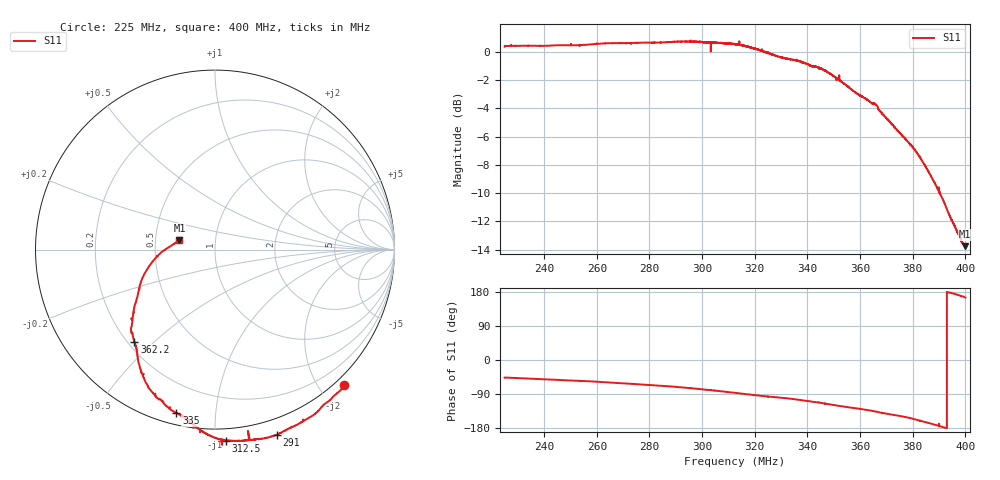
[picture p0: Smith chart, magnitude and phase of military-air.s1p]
! Calibrated averaged scanner-service zoom
# Hz S RI R 50
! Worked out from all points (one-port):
!   10001 points, 225 MHz to 400 MHz, reference 50 ohm
!   lowest |S11| = -13.8 dB at 399.9 MHz (marker M1), VSWR 1.52, Z = 33.3 + j3.73 ohm
!   |S11| at or under -10 dB: 390.3 MHz to end of sweep
!   S11 on the Smith chart (normalised r, x): 225 MHz: -0.13, -2.32; 291 MHz: -0.12, -1.38; 312.5 MHz: -0.07, -1.06; 335 MHz: 0.05, -0.79; 362.2 MHz: 0.23, -0.43; 400 MHz: 0.67, +0.08
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2.25e8  0.7165 -0.757
2.46875e8  0.634 -0.8436
2.597025e8  0.5777 -0.8957
2.6875e8  0.5188 -0.9394
2.84745e8  0.4016 -1.002
2.90625e8  0.3498 -1.028
2.9101e8  0.3449 -1.03
2.9906e8  0.2509 -1.057
3.020525e8  0.2086 -1.061
3.125e8  0.0609 -1.063
3.12535e8  0.0608 -1.065
3.16805e8  -0.00554 -1.046
3.2216e8  -0.0771 -1.008
3.34375e8  -0.2077 -0.9136
3.35005e8  -0.2156 -0.9107
3.43055e8  -0.321 -0.8273
3.449975e8  -0.3398 -0.8068
3.49635e8  -0.3922 -0.7248
3.5625e8  -0.4305 -0.6047
3.62165e8  -0.4496 -0.5133
3.662425e8  -0.4685 -0.4459
3.691825e8  -0.4575 -0.3771
3.78125e8  -0.4238 -0.226
3.83445e8  -0.3914 -0.132
3.909e8  -0.3069 -0.0227
3.9825e8  -0.2152 0.0416
3.9993e8  -0.1981 0.0537
4e8  -0.1979 0.0547
